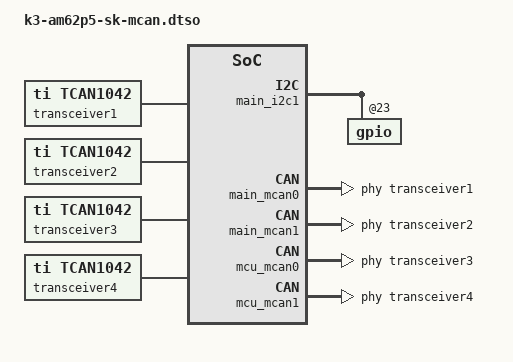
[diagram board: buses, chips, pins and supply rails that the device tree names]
// SPDX-License-Identifier: GPL-2.0
/**
 * DT overlay for enabling MCAN for AM62P-SK
 *
 * Copyright (C) 2023 Texas Instruments Incorporated - https://www.ti.com/
 */

/dts-v1/;
/plugin/;

#include <dt-bindings/gpio/gpio.h>
#include "k3-pinctrl.h"

&{/} {
	transceiver1: can-phy0 {
		compatible = "ti,tcan1042";
		#phy-cells = <0>;
		max-bitrate = <5000000>;
	};

	transceiver2: can-phy1 {
		compatible = "ti,tcan1042";
		#phy-cells = <0>;
		max-bitrate = <5000000>;
	};

	transceiver3: can-phy2 {
		compatible = "ti,tcan1042";
		#phy-cells = <0>;
		max-bitrate = <5000000>;
	};

	transceiver4: can-phy3 {
		compatible = "ti,tcan1042";
		#phy-cells = <0>;
		max-bitrate = <5000000>;
	};
};

&main_pmx0 {
	main_mcan0_pins_default: main-mcan0-pins-default {
		pinctrl-single,pins = <
			AM62PX_IOPAD(0x01dc, PIN_INPUT, 0) /* (F20) MCAN0_RX */
			AM62PX_IOPAD(0x01d8, PIN_OUTPUT, 0) /* (B23) MCAN0_TX */
		>;
	};

	main_mcan1_pins_default: main-mcan1-pins-default {
		pinctrl-single,pins = <
			AM62PX_IOPAD(0x00b4, PIN_INPUT, 5) /* (U25) GPMC0_CSn3.MCAN1_RX */
			AM62PX_IOPAD(0x00b0, PIN_OUTPUT, 5) /* (T22) GPMC0_CSn2.MCAN1_TX */
		>;
	};
};

&main_i2c2{
	/* Conflict: GPMC0_CSn3, GPMC0_CSn2 */
	status = "disabled";
};

&main_i2c1 {
	gpio@23 {
		p20-hog {
		/* P20 - SoC_I2C2_MCAN_SEL */
		gpio-hog;
		gpios = <16 GPIO_ACTIVE_HIGH>;
		output-low;
		line-name = "SoC_I2C2_MCAN_SEL";
		};
	};
};

&main_mcan0 {
	/* J3: RX=P8/TX=P10 */
	pinctrl-names = "default";
	pinctrl-0 = <&main_mcan0_pins_default>;
	phys = <&transceiver1>;
	status = "okay";
};

&main_mcan1 {
	/* J1: RX=P2/TX=P1 */
	pinctrl-names = "default";
	pinctrl-0 = <&main_mcan1_pins_default>;
	phys = <&transceiver2>;
	status = "okay";
};

&mcu_mcan0 {
	/* J11: RX=P22/TX=P16 */
	phys = <&transceiver3>;
	status = "okay";
};

&mcu_mcan1 {
	/* J11: RX=P11/TX=P10 */
	phys = <&transceiver4>;
	status = "okay";
};
